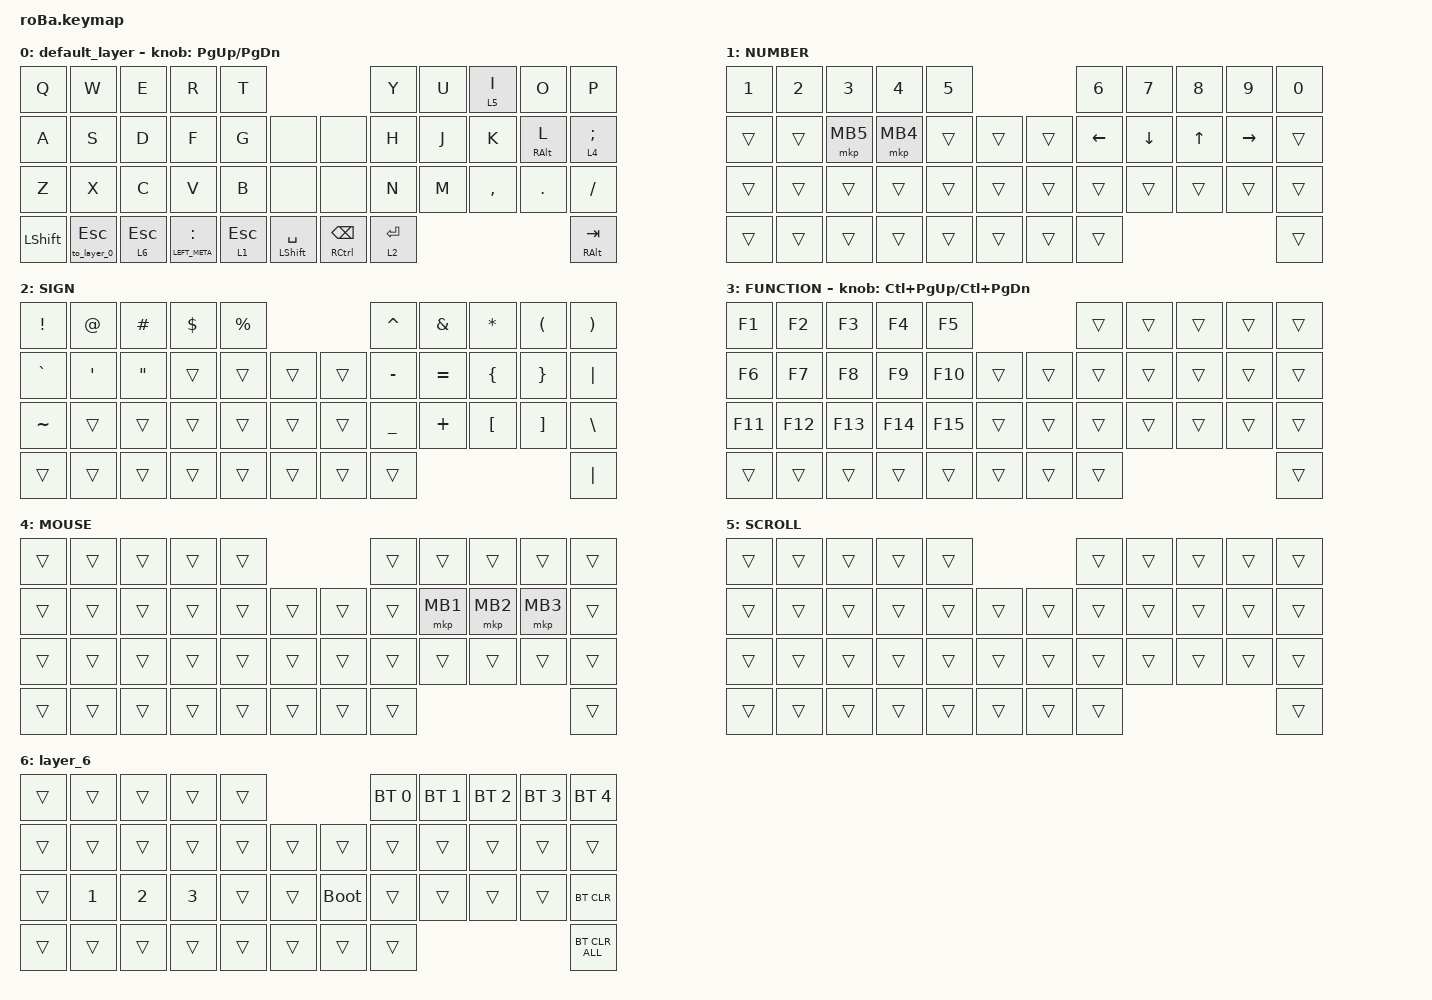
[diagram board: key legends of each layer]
#include <behaviors.dtsi>
#include <dt-bindings/zmk/bt.h>
#include <dt-bindings/zmk/keys.h>
#include <dt-bindings/zmk/pointing.h>

&mt {
    flavor = "balanced";
    quick-tap-ms = <0>;
};

&trackball {
    automouse-layer = <4>;
    scroll-layers = <5>;

    // arrows {
    //     layers = <3>;
    //     bindings =
    //         <&kp RIGHT_ARROW>,
    //         <&kp LEFT_ARROW>,
    //         <&kp UP_ARROW>,
    //         <&kp DOWN_ARROW>;
    //     tick = <10>;
    //     wait-ms = <5>;
    //     tap-ms = <5>;
    // };
};

/ {
    combos {
        compatible = "zmk,combos";

        tab {
            bindings = <&kp TAB>;
            key-positions = <11 12>;
        };

        shift_tab {
            bindings = <&kp LS(TAB)>;
            key-positions = <12 13>;
        };

        double_quotation {
            bindings = <&kp DOUBLE_QUOTES>;
            key-positions = <20 21>;
        };

        single_quote {
            bindings = <&kp SINGLE_QUOTE>;
            key-positions = <19 20>;
        };

        backquote {
            bindings = <&kp GRAVE>;
            key-positions = <18 19>;
        };
    };

    macros {
        to_layer_0: to_layer_0 {
            compatible = "zmk,behavior-macro-one-param";
            #binding-cells = <1>;
            bindings = <&to 0 &macro_param_1to1 &kp MACRO_PLACEHOLDER>;
            label = "TO_LAYER_0";
        };
    };

    behaviors {
        lt_to_layer_0: lt_to_layer_0 {
            compatible = "zmk,behavior-hold-tap";
            label = "LAYER_TAP_TO_0";
            bindings = <&mo>, <&to_layer_0>;

            #binding-cells = <2>;
            tapping-term-ms = <200>;
        };
    };

    keymap {
        compatible = "zmk,keymap";

        default_layer {
            bindings = <
&kp Q           &kp W               &kp E         &kp R                &kp T                                                                &kp Y        &kp U  &lt 5 I    &kp O            &kp P
&kp A           &kp S               &kp D         &kp F                &kp G         &none                     &none                        &kp H        &kp J  &kp K      &mt RIGHT_ALT L  &lt 4 SEMICOLON
&kp Z           &kp X               &kp C         &kp V                &kp B         &none                     &none                        &kp N        &kp M  &kp COMMA  &kp DOT          &kp SLASH
&kp LEFT_SHIFT  &to_layer_0 ESCAPE  &lt 6 ESCAPE  &mt LEFT_META COLON  &lt 1 ESCAPE  &mt LEFT_SHIFT SPACE      &mt RIGHT_CONTROL BACKSPACE  &lt 2 ENTER                                     &mt RIGHT_ALT TAB
            >;

            sensor-bindings = <&inc_dec_kp PG_UP PAGE_DOWN>;
        };

        NUMBER {
            bindings = <
&kp NUMBER_1  &kp NUMBER_2  &kp NUMBER_3  &kp NUMBER_4  &kp NUMBER_5                      &kp NUMBER_6    &kp NUMBER_7    &kp NUMBER_8  &kp NUMBER_9     &kp NUMBER_0
&trans        &trans        &mkp MB5      &mkp MB4      &trans        &trans      &trans  &kp LEFT_ARROW  &kp DOWN_ARROW  &kp UP_ARROW  &kp RIGHT_ARROW  &trans
&trans        &trans        &trans        &trans        &trans        &trans      &trans  &trans          &trans          &trans        &trans           &trans
&trans        &trans        &trans        &trans        &trans        &trans      &trans  &trans                                                         &trans
            >;
        };

        SIGN {
            bindings = <
&kp EXCLAMATION  &kp AT_SIGN       &kp HASH           &kp DOLLAR  &kp PERCENT                      &kp CARET       &kp AMPERSAND  &kp ASTERISK      &kp LEFT_PARENTHESIS  &kp RIGHT_PARENTHESIS
&kp GRAVE        &kp SINGLE_QUOTE  &kp DOUBLE_QUOTES  &trans      &trans       &trans      &trans  &kp MINUS       &kp EQUAL      &kp LEFT_BRACE    &kp RIGHT_BRACE       &kp PIPE
&kp TILDE        &trans            &trans             &trans      &trans       &trans      &trans  &kp UNDERSCORE  &kp PLUS       &kp LEFT_BRACKET  &kp RIGHT_BRACKET     &kp BACKSLASH
&trans           &trans            &trans             &trans      &trans       &trans      &trans  &trans                                                                 &kp PIPE
            >;
        };

        FUNCTION {
            bindings = <
&kp F1   &kp F2   &kp F3   &kp F4   &kp F5                       &trans  &trans  &trans  &trans  &trans
&kp F6   &kp F7   &kp F8   &kp F9   &kp F10  &trans      &trans  &trans  &trans  &trans  &trans  &trans
&kp F11  &kp F12  &kp F13  &kp F14  &kp F15  &trans      &trans  &trans  &trans  &trans  &trans  &trans
&trans   &trans   &trans   &trans   &trans   &trans      &trans  &trans                          &trans
            >;

            sensor-bindings = <&inc_dec_kp LC(PAGE_UP) LC(PAGE_DOWN)>;
        };

        MOUSE {
            bindings = <
&trans  &trans  &trans  &trans  &trans                      &trans  &trans    &trans    &trans    &trans
&trans  &trans  &trans  &trans  &trans  &trans      &trans  &trans  &mkp MB1  &mkp MB2  &mkp MB3  &trans
&trans  &trans  &trans  &trans  &trans  &trans      &trans  &trans  &trans    &trans    &trans    &trans
&trans  &trans  &trans  &trans  &trans  &trans      &trans  &trans                                &trans
            >;
        };

        SCROLL {
            bindings = <
&trans  &trans  &trans  &trans  &trans                      &trans  &trans  &trans  &trans  &trans
&trans  &trans  &trans  &trans  &trans  &trans      &trans  &trans  &trans  &trans  &trans  &trans
&trans  &trans  &trans  &trans  &trans  &trans      &trans  &trans  &trans  &trans  &trans  &trans
&trans  &trans  &trans  &trans  &trans  &trans      &trans  &trans                          &trans
            >;
        };

        layer_6 {
            bindings = <
&trans  &trans        &trans        &trans        &trans                           &bt BT_SEL 0  &bt BT_SEL 1  &bt BT_SEL 2  &bt BT_SEL 3  &bt BT_SEL 4
&trans  &trans        &trans        &trans        &trans  &trans      &trans       &trans        &trans        &trans        &trans        &trans
&trans  &kp NUMBER_1  &kp NUMBER_2  &kp NUMBER_3  &trans  &trans      &bootloader  &trans        &trans        &trans        &trans        &bt BT_CLR
&trans  &trans        &trans        &trans        &trans  &trans      &trans       &trans                                                  &bt BT_CLR_ALL
            >;
        };
    };
};
